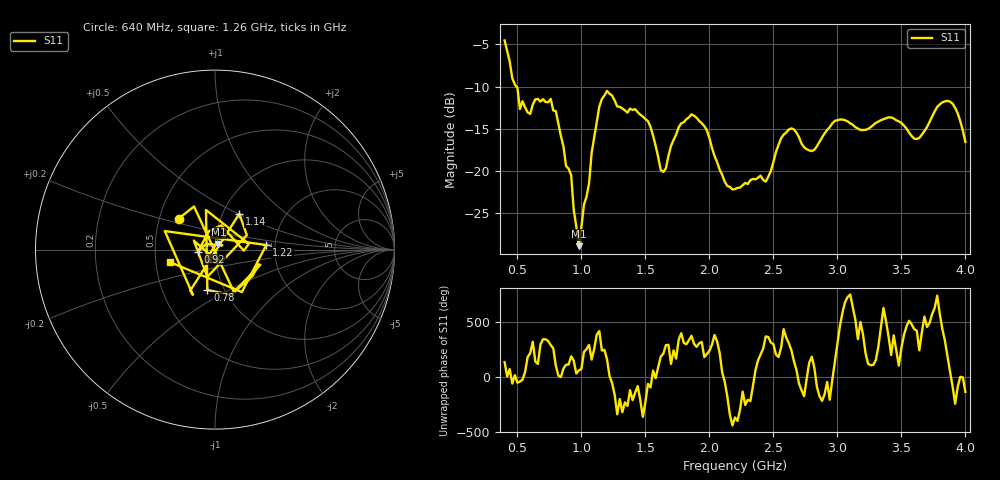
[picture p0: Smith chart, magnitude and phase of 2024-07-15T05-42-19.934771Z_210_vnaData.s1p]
!Created with skrf (http://scikit-rf.org).
# Hz S RI R 50.0
!freq ReS11 ImS11
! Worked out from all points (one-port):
!   181 points, 400 MHz to 4 GHz, reference 50 ohm
!   lowest |S11| = -28.9 dB at 980 MHz (marker M1), VSWR 1.07, Z = 51.9 + j3.14 ohm
!   |S11| at or under -10 dB: 493.2 MHz to end of sweep
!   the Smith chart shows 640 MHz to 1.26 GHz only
!   S11 on the Smith chart (normalised r, x): 640 MHz: 0.63, +0.23; 780 MHz: 0.83, -0.40; 920 MHz: 0.83, -0.02; 1.14 GHz: 1.20, +0.51; 1.22 GHz: 1.80, +0.10; 1.26 GHz: 0.59, -0.09
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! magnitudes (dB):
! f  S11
! 400 MHz  -4.5
! 520 MHz  -12.6
! 640 MHz  -11.5
! 780 MHz  -12.8
! 860 MHz  -17.1
! 920 MHz  -20.5
! 980 MHz  -28.9
! 1.14 GHz  -12.4
! 1.22 GHz  -10.8
! 1.26 GHz  -11.6
! 1.3 GHz  -12.4
! 1.52 GHz  -14.1
! 1.64 GHz  -20.1
! 1.76 GHz  -14.8
! 1.94 GHz  -14.3
! 2.12 GHz  -21.3
! 2.2 GHz  -22.1
! 2.44 GHz  -21.3
! 2.56 GHz  -16.1
! 2.66 GHz  -15.1
! 2.8 GHz  -17.6
! 2.98 GHz  -14.1
! 3.1 GHz  -14.4
! 3.42 GHz  -13.7
! 3.56 GHz  -15.4
! 3.64 GHz  -16.1
! 3.86 GHz  -11.7
! 4 GHz  -16.6
